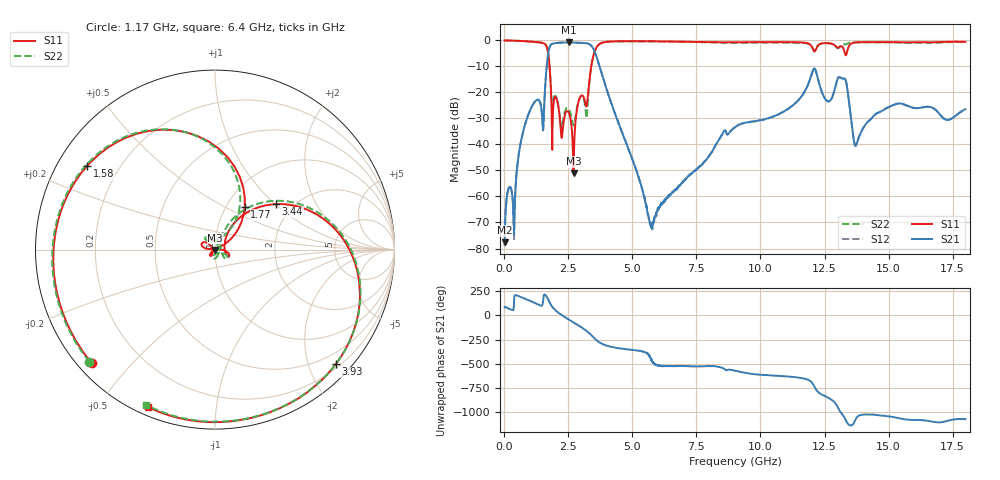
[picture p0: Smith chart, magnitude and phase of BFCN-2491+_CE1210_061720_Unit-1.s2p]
!Mini-Circuits Laboratory
!S-Parameters
!Model:BFCN-2491+
!S/N:Unit 1
!Run/Lot/Date Code:CE1210/MP20240/NA/1946
!Fixture/SN/Due: 90-4-20-290/75508/08-26-20
!Connection: PORT<1> - pin<1>, PORT<2> - pin<3>
!Port extension was done on test fixture
!Created: 06-17-2020 at 8:58 AM
# MHZ S DB R 50
!Frequency  S11 dB  S11 DEG  S21 dB  S21 DEG  S12 dB  S12 DEG  S22 dB  S22 DEG
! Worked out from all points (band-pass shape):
!   1800 points, 10 MHz to 18 GHz, reference 50 ohm
!   highest |S21| = -0.83 dB at 2.52 GHz (marker M1); lowest = -77.6 dB at 10 MHz (marker M2)
!   |S21| within 3 dB of the highest: 1.735 GHz to 3.503 GHz (1.768 GHz wide, 67.5 % of centre)
!   lowest |S11| = -51.1 dB at 2.7 GHz (marker M3), VSWR 1.01, Z = 50.1 - j0.246 ohm
!   |S11| at or under -10 dB: 1.764 GHz to 3.393 GHz (1.628 GHz wide, 63.2 % of centre)
!   |S22| runs from -33.6 to 0.0 dB; largest |S21 - S12| = 0.0011
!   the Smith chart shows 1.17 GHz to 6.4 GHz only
!   S11 on the Smith chart (normalised r, x): 1.17 GHz: 0.04, -0.39; 1.58 GHz: 0.09, +0.30; 1.77 GHz: 1.22, +0.63; 3.44 GHz: 1.64, +1.01; 3.93 GHz: 0.27, -2.48; 6.4 GHz: 0.03, -0.66
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10  -0.05 -1.2  -77.63 83.0  -79.10 79.4  -0.05 -1.2
400  -0.13 -48.3  -66.02 -156.5  -65.83 -159.2  -0.13 -48.5
620  -0.23 -73.7  -40.28 -168.5  -40.30 -168.5  -0.21 -74.1
1170  -0.59 -137.4  -23.84 129.5  -23.84 129.4  -0.55 -138.4
1580  -1.40 146.7  -19.98 -147.0  -19.97 -147.0  -1.33 146.4
1770  -10.73 55.2  -2.52 130.2  -2.53 130.2  -10.36 62.3
2130  -26.87 137.5  -0.92 22.6  -0.92 22.6  -26.42 89.1
2520  -27.81 -134.2  -0.83 -45.0  -0.84 -45.0  -26.51 -102.9
2700  -51.10 -61.7  -0.84 -73.3  -0.84 -73.3  -32.66 -70.8
3010  -21.19 -23.2  -0.97 -123.7  -0.98 -123.7  -21.36 -34.7
3210  -25.33 12.8  -1.14 -161.2  -1.15 -161.2  -29.86 9.8
3440  -7.45 36.7  -2.67 142.9  -2.67 142.8  -7.56 40.3
3930  -0.66 -43.5  -16.91 53.1  -16.92 53.0  -0.66 -43.1
5700  -0.36 -103.3  -70.45 -80.9  -71.12 -86.5  -0.40 -103.6
6010  -0.38 -107.9  -64.45 -154.3  -65.04 -156.6  -0.43 -108.3
6400  -0.42 -113.2  -60.36 -164.5  -60.01 -164.8  -0.49 -113.9
9010  -0.77 -151.9  -33.38 149.0  -33.43 149.0  -0.94 -155.4
12010  -2.53 152.8  -12.57 25.9  -12.56 25.8  -2.58 151.5
13280  -4.35 144.9  -14.67 26.1  -14.68 26.2  -1.57 156.9
13720  -0.82 157.3  -40.47 11.3  -40.39 11.1  -0.77 150.2
15010  -0.66 138.9  -25.66 38.2  -25.67 38.2  -0.76 136.3
18000  -0.55 129.1  -26.45 9.9  -26.45 10.0  -0.69 126.3
